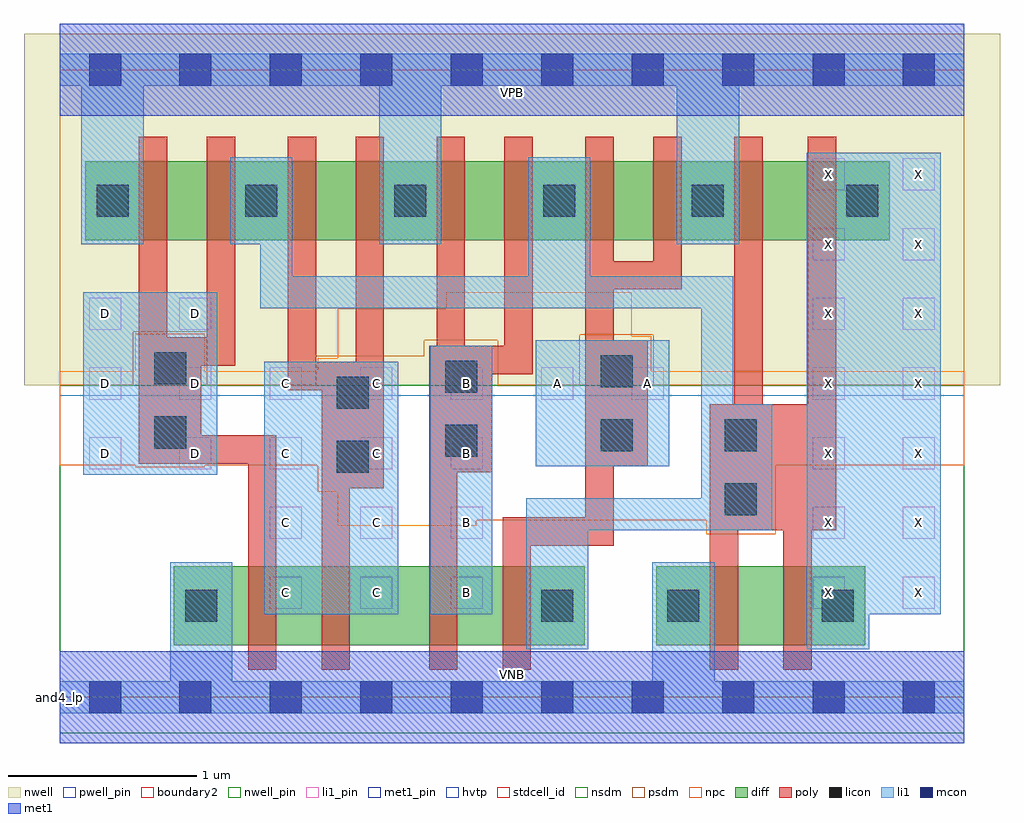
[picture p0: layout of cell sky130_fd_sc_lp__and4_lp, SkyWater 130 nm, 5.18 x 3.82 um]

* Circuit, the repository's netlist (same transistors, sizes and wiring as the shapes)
* Copyright 2020 The SkyWater PDK Authors
*
* Licensed under the Apache License, Version 2.0 (the "License");
* you may not use this file except in compliance with the License.
* You may obtain a copy of the License at
*
*     https://www.apache.org/licenses/LICENSE-2.0
*
* Unless required by applicable law or agreed to in writing, software
* distributed under the License is distributed on an "AS IS" BASIS,
* WITHOUT WARRANTIES OR CONDITIONS OF ANY KIND, either express or implied.
* See the License for the specific language governing permissions and
* limitations under the License.
*
* SPDX-License-Identifier: Apache-2.0

.SUBCKT sky130_fd_sc_lp__and4_lp A B C D VGND VNB VPB VPWR X
*.PININFO A:I B:I C:I D:I VGND:I VNB:I VPB:I VPWR:I X:O
MMP0 y A net40 VPB sky130_fd_pr__pfet_01v8_hvt m=1 w=0.42U l=0.15U mult=1 sa=0.265
+ sb=0.265 sd=0.28 area=0.063 perim=1.14
MMP1 y B net36 VPB sky130_fd_pr__pfet_01v8_hvt m=1 w=0.42U l=0.15U mult=1 sa=0.265
+ sb=0.265 sd=0.28 area=0.063 perim=1.14
MMP2 y C net32 VPB sky130_fd_pr__pfet_01v8_hvt m=1 w=0.42U l=0.15U mult=1 sa=0.265
+ sb=0.265 sd=0.28 area=0.063 perim=1.14
MI11 net32 C VPWR VPB sky130_fd_pr__pfet_01v8_hvt m=1 w=0.42U l=0.15U mult=1 sa=0.265
+ sb=0.265 sd=0.28 area=0.063 perim=1.14
MMP3 y D net55 VPB sky130_fd_pr__pfet_01v8_hvt m=1 w=0.42U l=0.15U mult=1 sa=0.265
+ sb=0.265 sd=0.28 area=0.063 perim=1.14
MMIP0 X y net48 VPB sky130_fd_pr__pfet_01v8_hvt m=1 w=0.42U l=0.15U mult=1 sa=0.265
+ sb=0.265 sd=0.28 area=0.063 perim=1.14
MI12 net55 D VPWR VPB sky130_fd_pr__pfet_01v8_hvt m=1 w=0.42U l=0.15U mult=1 sa=0.265
+ sb=0.265 sd=0.28 area=0.063 perim=1.14
MI10 net36 B VPWR VPB sky130_fd_pr__pfet_01v8_hvt m=1 w=0.42U l=0.15U mult=1 sa=0.265
+ sb=0.265 sd=0.28 area=0.063 perim=1.14
MI9 net40 A VPWR VPB sky130_fd_pr__pfet_01v8_hvt m=1 w=0.42U l=0.15U mult=1 sa=0.265
+ sb=0.265 sd=0.28 area=0.063 perim=1.14
MI8 net48 y VPWR VPB sky130_fd_pr__pfet_01v8_hvt m=1 w=0.42U l=0.15U mult=1 sa=0.265
+ sb=0.265 sd=0.28 area=0.063 perim=1.14
MMN0 y A sndA VNB sky130_fd_pr__nfet_01v8 m=1 w=0.42U l=0.15U mult=1 sa=0.265 sb=0.265
+ sd=0.28 area=0.063 perim=1.14
MMN1 sndA B sndB VNB sky130_fd_pr__nfet_01v8 m=1 w=0.42U l=0.15U mult=1 sa=0.265
+ sb=0.265 sd=0.28 area=0.063 perim=1.14
MMN2 sndB C sndC VNB sky130_fd_pr__nfet_01v8 m=1 w=0.42U l=0.15U mult=1 sa=0.265
+ sb=0.265 sd=0.28 area=0.063 perim=1.14
MMN3 sndC D VGND VNB sky130_fd_pr__nfet_01v8 m=1 w=0.42U l=0.15U mult=1 sa=0.265
+ sb=0.265 sd=0.28 area=0.063 perim=1.14
MMIN0 X y net71 VNB sky130_fd_pr__nfet_01v8 m=1 w=0.42U l=0.15U mult=1 sa=0.265
+ sb=0.265 sd=0.28 area=0.063 perim=1.14
MI7 net71 y VGND VNB sky130_fd_pr__nfet_01v8 m=1 w=0.42U l=0.15U mult=1 sa=0.265
+ sb=0.265 sd=0.28 area=0.063 perim=1.14
.ENDS sky130_fd_sc_lp__and4_lp

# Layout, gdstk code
import gdstk
lib = gdstk.Library(unit=1e-6, precision=1e-09)
def R(c, l, rs):  # rectangles x0, y0, x1, y1
    for r in rs: c.add(gdstk.rectangle(r[:2], r[2:], *l))
def A(c, l, x, y, w, h, nx, ny, dx, dy):  # array of equal rectangles
    R(c, l, [(x+i*dx, y+j*dy, x+i*dx+w, y+j*dy+h) for i in range(nx) for j in range(ny)])
def P(c, l, *ps):  # polygons
    for p in ps: c.add(gdstk.Polygon(p, *l))
nwell_pin = (64, 16)
nwell = (64, 20)
diff = (65, 20)
poly = (66, 20)
licon = (66, 44)
li1_pin = (67, 16)
li1 = (67, 20)
mcon = (67, 44)
met1_pin = (68, 16)
met1 = (68, 20)
hvtp = (78, 44)
stdcell_id = (81, 4)
nsdm = (93, 44)
psdm = (94, 20)
npc = (95, 20)
pwell_pin = (122, 16)
boundary2 = (236, 0)

sky130_fd_sc_lp__and4_lp = lib.new_cell('sky130_fd_sc_lp__and4_lp')
R(sky130_fd_sc_lp__and4_lp, nwell_pin, [(0,3.085,4.8,3.33)])
R(sky130_fd_sc_lp__and4_lp, nwell, [(-0.19,1.655,4.99,3.52)])
R(sky130_fd_sc_lp__and4_lp, diff, [(0.605,0.275,2.785,0.695), (3.165,0.275,4.275,0.695), (0.135,2.425,4.405,2.845)])
P(sky130_fd_sc_lp__and4_lp, poly, [(1.15,1.39),(0.75,1.39),(0.75,1.76),(0.93,1.76),(0.93,2.975),(0.78,2.975),(0.78,1.91),(0.57,1.91),(0.57,2.975),(0.42,2.975),(0.42,1.24),(1,1.24),(1,0.145),(1.15,0.145)],
  [(1.72,2.975),(1.57,2.975),(1.57,1.78),(1.36,1.78),(1.36,2.975),(1.21,2.975),(1.21,1.63),(1.39,1.63),(1.39,0.145),(1.54,0.145),(1.54,1.11),(1.72,1.11)],
  [(2.51,2.975),(2.36,2.975),(2.36,1.865),(2.15,1.865),(2.15,2.975),(2,2.975),(2,1.865),(1.96,1.865),(1.96,0.145),(2.11,0.145),(2.11,1.195),(2.295,1.195),(2.295,1.715),(2.51,1.715)],
  [(3.3,2.975),(3.15,2.975),(3.15,2.315),(2.94,2.315),(2.94,2.975),(2.79,2.975),(2.79,0.955),(2.35,0.955),(2.35,0.145),(2.5,0.145),(2.5,0.805),(2.94,0.805),(2.94,1.225),(3.12,1.225),(3.12,1.895),(2.94,1.895),(2.94,2.165),(3.3,2.165)],
  [(4.12,2.975),(3.97,2.975),(3.97,1.555),(3.73,1.555),(3.73,2.975),(3.58,2.975),(3.58,1.555),(3.45,1.555),(3.45,0.145),(3.6,0.145),(3.6,0.885),(3.84,0.885),(3.84,0.145),(3.99,0.145),(3.99,0.885),(4.12,0.885)])
A(sky130_fd_sc_lp__and4_lp, licon, 0.195, 2.55, 0.17, 0.17, 5, 1, 0.79, 0)
R(sky130_fd_sc_lp__and4_lp, licon, [(0.665,0.4,0.835,0.57), (2.555,0.4,2.725,0.57), (3.225,0.4,3.395,0.57), (4.045,0.4,4.215,0.57), (3.53,0.965,3.7,1.135), (1.47,1.19,1.64,1.36), (2.045,1.275,2.215,1.445), (2.87,1.305,3.04,1.475), (3.53,1.305,3.7,1.475), (0.5,1.32,0.67,1.49), (1.47,1.53,1.64,1.7), (2.045,1.615,2.215,1.785), (2.87,1.645,3.04,1.815), (0.5,1.66,0.67,1.83), (4.175,2.55,4.345,2.72)])
A(sky130_fd_sc_lp__and4_lp, li1_pin, 1.115, 0.47, 0.17, 0.17, 3, 2, 0.48, 0.37)
A(sky130_fd_sc_lp__and4_lp, li1_pin, 3.995, 0.47, 0.17, 0.17, 1, 7, 0, 0.37)
A(sky130_fd_sc_lp__and4_lp, li1_pin, 4.475, 0.47, 0.17, 0.17, 1, 7, 0, 0.37)
A(sky130_fd_sc_lp__and4_lp, li1_pin, 0.155, 1.21, 0.17, 0.17, 5, 1, 0.48, 0)
A(sky130_fd_sc_lp__and4_lp, li1_pin, 0.155, 1.58, 0.17, 0.17, 7, 1, 0.48, 0)
R(sky130_fd_sc_lp__and4_lp, li1_pin, [(0.155,1.95,0.325,2.12), (0.635,1.95,0.805,2.12)])
R(sky130_fd_sc_lp__and4_lp, li1, [(1.085,0.44,1.795,1.78), (1.965,0.44,2.295,1.865), (0.125,1.18,0.835,2.15), (2.525,1.225,3.235,1.895)])
P(sky130_fd_sc_lp__and4_lp, li1, [(3.275,2.405),(3.275,3.245),(2.025,3.245),(2.025,2.405),(1.695,2.405),(1.695,3.245),(0.445,3.245),(0.445,2.405),(0.115,2.405),(0.115,3.245),(0,3.245),(0,3.415),(4.8,3.415),(4.8,3.245),(3.605,3.245),(3.605,2.405)],
  [(0.585,0.085),(0.585,0.715),(0.915,0.715),(0.915,0.085),(3.145,0.085),(3.145,0.715),(3.475,0.715),(3.475,0.085),(4.8,0.085),(4.8,-0.085),(0,-0.085),(0,0.085)],
  [(2.475,0.255),(2.475,1.055),(3.405,1.055),(3.405,2.065),(1.065,2.065),(1.065,2.405),(0.905,2.405),(0.905,2.865),(1.235,2.865),(1.235,2.235),(2.485,2.235),(2.485,2.865),(2.815,2.865),(2.815,2.235),(3.575,2.235),(3.575,1.555),(3.78,1.555),(3.78,0.885),(2.805,0.885),(2.805,0.255)],
  [(3.965,2.89),(4.675,2.89),(4.675,0.44),(4.295,0.44),(4.295,0.255),(3.965,0.255)])
A(sky130_fd_sc_lp__and4_lp, mcon, 0.155, -0.085, 0.17, 0.17, 10, 2, 0.48, 3.33)
R(sky130_fd_sc_lp__and4_lp, met1_pin, [(0,0,4.8,0.245), (0,3.085,4.8,3.33)])
R(sky130_fd_sc_lp__and4_lp, met1, [(0,-0.245,4.8,0.245), (0,3.085,4.8,3.575)])
R(sky130_fd_sc_lp__and4_lp, hvtp, [(0,1.6,4.8,3.33)])
R(sky130_fd_sc_lp__and4_lp, stdcell_id, [(0,0,4.8,3.33)])
R(sky130_fd_sc_lp__and4_lp, nsdm, [(0,-0.19,4.8,1.655)])
P(sky130_fd_sc_lp__and4_lp, psdm, [(4.8,3.52),(0,3.52),(0,1.655),(0.39,1.655),(0.39,1.94),(0.78,1.94),(0.78,1.655),(1.36,1.655),(1.36,1.81),(1.935,1.81),(1.935,1.895),(2.325,1.895),(2.325,1.655),(2.76,1.655),(2.76,1.925),(3.15,1.925),(3.15,1.655),(4.8,1.655)])
P(sky130_fd_sc_lp__and4_lp, npc, [(4.8,1.73),(3.14,1.73),(3.14,1.915),(3.035,1.915),(3.035,2.15),(2.05,2.15),(2.05,2.065),(1.475,2.065),(1.475,1.8),(1.37,1.8),(1.37,1.73),(0.77,1.73),(0.77,1.93),(0.4,1.93),(0.4,1.73),(0,1.73),(0,1.23),(0.4,1.23),(0.4,1.22),(0.77,1.22),(0.77,1.23),(1.37,1.23),(1.37,1.09),(1.475,1.09),(1.475,0.91),(2.21,0.91),(2.21,0.94),(3.43,0.94),(3.43,0.865),(3.8,0.865),(3.8,1.23),(4.8,1.23)])
R(sky130_fd_sc_lp__and4_lp, pwell_pin, [(0,0,4.8,0.245)])
R(sky130_fd_sc_lp__and4_lp, boundary2, [(0,0,4.8,3.33)])
sky130_fd_sc_lp__and4_lp.add(gdstk.Label('VNB', (2.4,0.123), layer=64, texttype=59))
sky130_fd_sc_lp__and4_lp.add(gdstk.Label('VPB', (2.4,3.208), layer=64, texttype=5))
sky130_fd_sc_lp__and4_lp.add(gdstk.Label('and4_lp', (0,0), layer=83, texttype=44))
sky130_fd_sc_lp__and4_lp.add(gdstk.Label('VPWR', (2.4,3.208), layer=68, texttype=5))
sky130_fd_sc_lp__and4_lp.add(gdstk.Label('VGND', (2.4,0.123), layer=68, texttype=5))
sky130_fd_sc_lp__and4_lp.add(gdstk.Label('A', (2.64,1.665), layer=67, texttype=5))
sky130_fd_sc_lp__and4_lp.add(gdstk.Label('A', (3.12,1.665), layer=67, texttype=5))
sky130_fd_sc_lp__and4_lp.add(gdstk.Label('B', (2.16,0.555), layer=67, texttype=5))
sky130_fd_sc_lp__and4_lp.add(gdstk.Label('B', (2.16,0.925), layer=67, texttype=5))
sky130_fd_sc_lp__and4_lp.add(gdstk.Label('B', (2.16,1.295), layer=67, texttype=5))
sky130_fd_sc_lp__and4_lp.add(gdstk.Label('B', (2.16,1.665), layer=67, texttype=5))
sky130_fd_sc_lp__and4_lp.add(gdstk.Label('D', (0.24,1.295), layer=67, texttype=5))
sky130_fd_sc_lp__and4_lp.add(gdstk.Label('D', (0.24,1.665), layer=67, texttype=5))
sky130_fd_sc_lp__and4_lp.add(gdstk.Label('D', (0.24,2.035), layer=67, texttype=5))
sky130_fd_sc_lp__and4_lp.add(gdstk.Label('D', (0.72,1.295), layer=67, texttype=5))
sky130_fd_sc_lp__and4_lp.add(gdstk.Label('D', (0.72,1.665), layer=67, texttype=5))
sky130_fd_sc_lp__and4_lp.add(gdstk.Label('D', (0.72,2.035), layer=67, texttype=5))
sky130_fd_sc_lp__and4_lp.add(gdstk.Label('C', (1.2,0.555), layer=67, texttype=5))
sky130_fd_sc_lp__and4_lp.add(gdstk.Label('C', (1.2,0.925), layer=67, texttype=5))
sky130_fd_sc_lp__and4_lp.add(gdstk.Label('C', (1.2,1.295), layer=67, texttype=5))
sky130_fd_sc_lp__and4_lp.add(gdstk.Label('C', (1.2,1.665), layer=67, texttype=5))
sky130_fd_sc_lp__and4_lp.add(gdstk.Label('C', (1.68,0.555), layer=67, texttype=5))
sky130_fd_sc_lp__and4_lp.add(gdstk.Label('C', (1.68,0.925), layer=67, texttype=5))
sky130_fd_sc_lp__and4_lp.add(gdstk.Label('C', (1.68,1.295), layer=67, texttype=5))
sky130_fd_sc_lp__and4_lp.add(gdstk.Label('C', (1.68,1.665), layer=67, texttype=5))
sky130_fd_sc_lp__and4_lp.add(gdstk.Label('X', (4.08,0.555), layer=67, texttype=5))
sky130_fd_sc_lp__and4_lp.add(gdstk.Label('X', (4.08,0.925), layer=67, texttype=5))
sky130_fd_sc_lp__and4_lp.add(gdstk.Label('X', (4.08,1.295), layer=67, texttype=5))
sky130_fd_sc_lp__and4_lp.add(gdstk.Label('X', (4.08,1.665), layer=67, texttype=5))
sky130_fd_sc_lp__and4_lp.add(gdstk.Label('X', (4.08,2.035), layer=67, texttype=5))
sky130_fd_sc_lp__and4_lp.add(gdstk.Label('X', (4.08,2.405), layer=67, texttype=5))
sky130_fd_sc_lp__and4_lp.add(gdstk.Label('X', (4.08,2.775), layer=67, texttype=5))
sky130_fd_sc_lp__and4_lp.add(gdstk.Label('X', (4.56,0.555), layer=67, texttype=5))
sky130_fd_sc_lp__and4_lp.add(gdstk.Label('X', (4.56,0.925), layer=67, texttype=5))
sky130_fd_sc_lp__and4_lp.add(gdstk.Label('X', (4.56,1.295), layer=67, texttype=5))
sky130_fd_sc_lp__and4_lp.add(gdstk.Label('X', (4.56,1.665), layer=67, texttype=5))
sky130_fd_sc_lp__and4_lp.add(gdstk.Label('X', (4.56,2.035), layer=67, texttype=5))
sky130_fd_sc_lp__and4_lp.add(gdstk.Label('X', (4.56,2.405), layer=67, texttype=5))
sky130_fd_sc_lp__and4_lp.add(gdstk.Label('X', (4.56,2.775), layer=67, texttype=5))

lib.write_gds('sky130_fd_sc_lp__and4_lp.gds')
